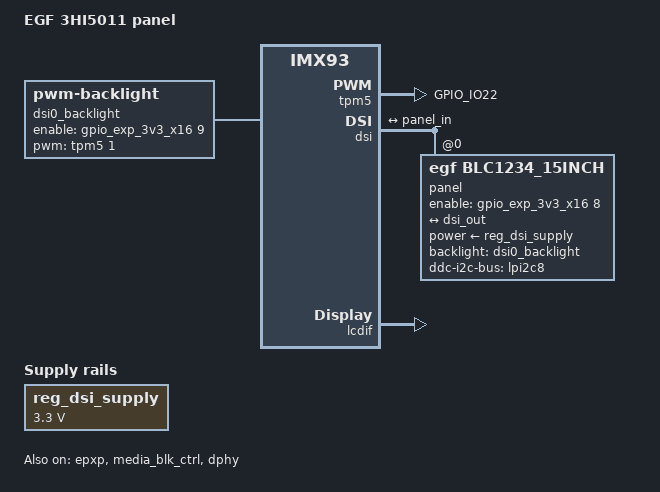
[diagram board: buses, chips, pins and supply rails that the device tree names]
// SPDX-License-Identifier: (GPL-2.0+ OR MIT)
/*
 * Copyright 2022 NXP
 * Copyright 2025 Elettronica GF s.r.l
 */

/dts-v1/;

#include "imx93-egf-3pb1001.dts"

/ {
	model = "EGF 3HI5011 panel";
	compatible = "fsl,imx93";
 
 	reg_dsi_supply: regulator-3v3-dsi{
		compatible = "regulator-fixed";
		regulator-name = "DSI-3V3";
		regulator-min-microvolt = <3300000>;
		regulator-max-microvolt = <3300000>;
	};

	dsi0_backlight: backlight {
		compatible = "pwm-backlight";
		pwms = <&tpm5 1 100000 0>;
		brightness-levels = < 0  1  2  3  4  5  6  7  8  9
				     10 11 12 13 14 15 16 17 18 19
				     20 21 22 23 24 25 26 27 28 29
				     30 31 32 33 34 35 36 37 38 39
				     40 41 42 43 44 45 46 47 48 49
				     50 51 52 53 54 55 56 57 58 59
				     60 61 62 63 64 65 66 67 68 69
				     70 71 72 73 74 75 76 77 78 79
				     80 81 82 83 84 85 86 87 88 89
				     90 91 92 93 94 95 96 97 98 99
				    100>;
		default-brightness-level = <80>;
		enable-gpios = <&gpio_exp_3v3_x16 9 GPIO_ACTIVE_HIGH>;
		status = "okay";
	};
 };
 
 &tpm5 {
	pinctrl-names = "default";
	pinctrl-0 = <&pinctrl_tpm5_ch1>;
	status = "okay";
};

&dsi {
	#address-cells = <1>;
	#size-cells = <0>;
    status = "okay";

	panel@0 {
		compatible = "egf,blc1234_15inch";
        reg = <0>;
       	dsi-lanes = <4>;
        pinctrl-names = "default";
		ddc-i2c-bus = <&lpi2c8>;	
		backlight = <&dsi0_backlight>;	
		enable-gpio = <&gpio_exp_3v3_x16 8 GPIO_ACTIVE_HIGH>;
		power-supply =  <&reg_dsi_supply>;
		status = "okay";

		port {
			panel_in: endpoint {
				remote-endpoint = <&dsi_out>;
			};
		};
	};

	ports {
		port@1 {
			reg = <1>;

			dsi_out: endpoint {
				remote-endpoint = <&panel_in>;
			};
		};
	};
};


&lcdif {
	assigned-clock-rates = <300000000>, <30000000>, <400000000>, <133333333>;
	status = "okay";
};

&epxp {
	status = "okay";
};

&media_blk_ctrl {
	status = "okay";
};

&dphy {
	status = "okay";
};




&iomuxc {
	pinctrl-names = "default";


    pinctrl_tpm5_ch1: tpm5ch1grp {
        fsl,pins = <MX93_PAD_GPIO_IO22__TPM5_CH1                  0x0000031e>;      /* PWM BL */
    };
};
